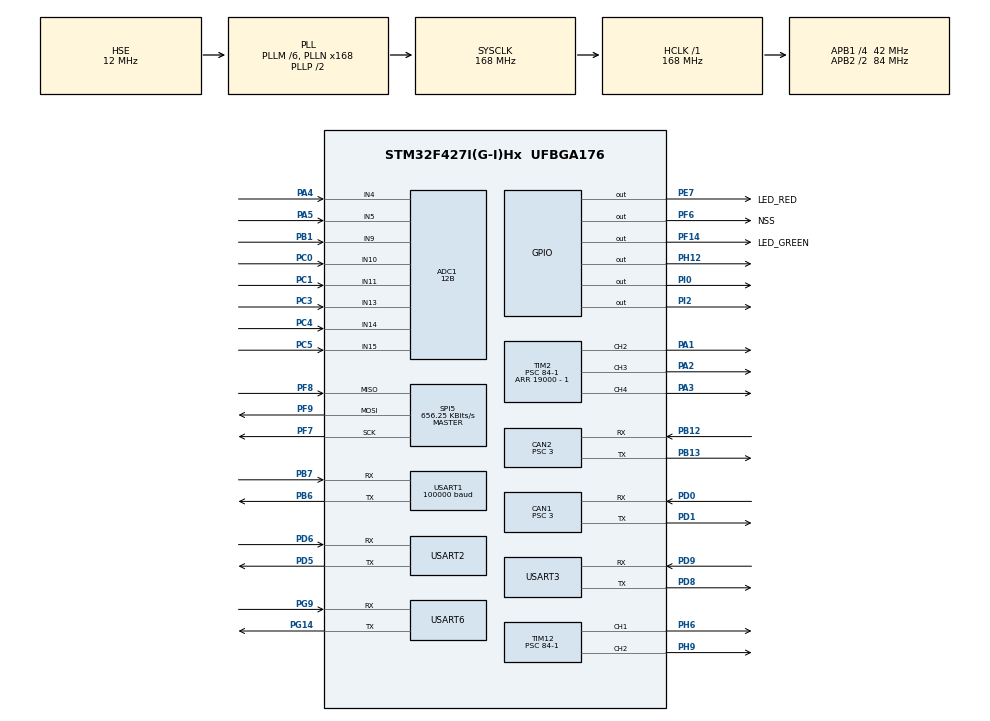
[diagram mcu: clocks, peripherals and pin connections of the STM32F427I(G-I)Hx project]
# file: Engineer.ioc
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ADC1.Channel-0\#ChannelRegularConversion=ADC_CHANNEL_4
ADC1.Channel-1\#ChannelRegularConversion=ADC_CHANNEL_11
ADC1.Channel-2\#ChannelRegularConversion=ADC_CHANNEL_10
ADC1.Channel-3\#ChannelRegularConversion=ADC_CHANNEL_9
ADC1.Channel-4\#ChannelRegularConversion=ADC_CHANNEL_5
ADC1.Channel-5\#ChannelRegularConversion=ADC_CHANNEL_15
ADC1.Channel-6\#ChannelRegularConversion=ADC_CHANNEL_14
ADC1.Channel-7\#ChannelRegularConversion=ADC_CHANNEL_13
ADC1.ClockPrescaler=ADC_CLOCK_SYNC_PCLK_DIV4
ADC1.ContinuousConvMode=ENABLE
ADC1.DMAContinuousRequests=ENABLE
ADC1.DataAlign=ADC_DATAALIGN_RIGHT
ADC1.DiscontinuousConvMode=DISABLE
ADC1.EOCSelection=ADC_EOC_SINGLE_CONV
ADC1.EnableAnalogWatchDog=false
ADC1.ExternalTrigConv=ADC_SOFTWARE_START
ADC1.ExternalTrigConvEdge=ADC_EXTERNALTRIGCONVEDGE_NONE
ADC1.InjNumberOfConversion=0
ADC1.NbrOfConversion=8
ADC1.NbrOfConversionFlag=1
ADC1.Rank-0\#ChannelRegularConversion=1
ADC1.Rank-1\#ChannelRegularConversion=2
ADC1.Rank-2\#ChannelRegularConversion=3
ADC1.Rank-3\#ChannelRegularConversion=4
ADC1.Rank-4\#ChannelRegularConversion=5
ADC1.Rank-5\#ChannelRegularConversion=6
ADC1.Rank-6\#ChannelRegularConversion=7
ADC1.Rank-7\#ChannelRegularConversion=8
ADC1.Resolution=ADC_RESOLUTION_12B
ADC1.SamplingTime-0\#ChannelRegularConversion=ADC_SAMPLETIME_3CYCLES
ADC1.SamplingTime-1\#ChannelRegularConversion=ADC_SAMPLETIME_3CYCLES
ADC1.SamplingTime-2\#ChannelRegularConversion=ADC_SAMPLETIME_3CYCLES
ADC1.SamplingTime-3\#ChannelRegularConversion=ADC_SAMPLETIME_3CYCLES
ADC1.SamplingTime-4\#ChannelRegularConversion=ADC_SAMPLETIME_3CYCLES
ADC1.SamplingTime-5\#ChannelRegularConversion=ADC_SAMPLETIME_3CYCLES
ADC1.SamplingTime-6\#ChannelRegularConversion=ADC_SAMPLETIME_3CYCLES
ADC1.SamplingTime-7\#ChannelRegularConversion=ADC_SAMPLETIME_3CYCLES
ADC1.ScanConvMode=ENABLE
ADC1.master=1
CAN1.BS1=CAN_BS1_9TQ
CAN1.BS2=CAN_BS2_4TQ
CAN1.CalculateTimeBit=1000
CAN1.CalculateTimeQuantum=71.42857142857143
CAN1.Prescaler=3
CAN2.BS1=CAN_BS1_9TQ
CAN2.BS2=CAN_BS2_4TQ
CAN2.CalculateTimeBit=1000
CAN2.CalculateTimeQuantum=71.42857142857143
CAN2.Prescaler=3
Dma.ADC1.4.Direction=DMA_PERIPH_TO_MEMORY
Dma.ADC1.4.FIFOMode=DMA_FIFOMODE_DISABLE
Dma.ADC1.4.Instance=DMA2_Stream0
Dma.ADC1.4.MemDataAlignment=DMA_MDATAALIGN_WORD
Dma.ADC1.4.MemInc=DMA_MINC_ENABLE
Dma.ADC1.4.Mode=DMA_CIRCULAR
Dma.ADC1.4.PeriphDataAlignment=DMA_PDATAALIGN_WORD
Dma.ADC1.4.PeriphInc=DMA_PINC_DISABLE
Dma.ADC1.4.Priority=DMA_PRIORITY_LOW
Dma.Request0=USART1_RX
Dma.Request1=USART3_RX
Dma.Request2=USART2_RX
Dma.Request3=USART6_RX
Dma.Request4=ADC1
Dma.Request5=USART6_TX
Dma.USART1_RX.0.Direction=DMA_PERIPH_TO_MEMORY
Dma.USART1_RX.0.FIFOMode=DMA_FIFOMODE_DISABLE
Dma.USART1_RX.0.Instance=DMA2_Stream2
Dma.USART1_RX.0.MemDataAlignment=DMA_MDATAALIGN_BYTE
Dma.USART1_RX.0.MemInc=DMA_MINC_ENABLE
Dma.USART1_RX.0.Mode=DMA_NORMAL
Dma.USART1_RX.0.PeriphDataAlignment=DMA_PDATAALIGN_BYTE
Dma.USART1_RX.0.PeriphInc=DMA_PINC_DISABLE
Dma.USART1_RX.0.Priority=DMA_PRIORITY_LOW
Dma.USART2_RX.2.Direction=DMA_PERIPH_TO_MEMORY
Dma.USART2_RX.2.FIFOMode=DMA_FIFOMODE_DISABLE
Dma.USART2_RX.2.Instance=DMA1_Stream5
Dma.USART2_RX.2.MemDataAlignment=DMA_MDATAALIGN_BYTE
Dma.USART2_RX.2.MemInc=DMA_MINC_ENABLE
Dma.USART2_RX.2.Mode=DMA_NORMAL
Dma.USART2_RX.2.PeriphDataAlignment=DMA_PDATAALIGN_BYTE
Dma.USART2_RX.2.PeriphInc=DMA_PINC_DISABLE
Dma.USART2_RX.2.Priority=DMA_PRIORITY_LOW
Dma.USART3_RX.1.Direction=DMA_PERIPH_TO_MEMORY
Dma.USART3_RX.1.FIFOMode=DMA_FIFOMODE_DISABLE
Dma.USART3_RX.1.Instance=DMA1_Stream1
Dma.USART3_RX.1.MemDataAlignment=DMA_MDATAALIGN_BYTE
Dma.USART3_RX.1.MemInc=DMA_MINC_ENABLE
Dma.USART3_RX.1.Mode=DMA_NORMAL
Dma.USART3_RX.1.PeriphDataAlignment=DMA_PDATAALIGN_BYTE
Dma.USART3_RX.1.PeriphInc=DMA_PINC_DISABLE
Dma.USART3_RX.1.Priority=DMA_PRIORITY_LOW
Dma.USART6_RX.3.Direction=DMA_PERIPH_TO_MEMORY
Dma.USART6_RX.3.FIFOMode=DMA_FIFOMODE_DISABLE
Dma.USART6_RX.3.Instance=DMA2_Stream1
Dma.USART6_RX.3.MemDataAlignment=DMA_MDATAALIGN_BYTE
Dma.USART6_RX.3.MemInc=DMA_MINC_ENABLE
Dma.USART6_RX.3.Mode=DMA_NORMAL
Dma.USART6_RX.3.PeriphDataAlignment=DMA_PDATAALIGN_BYTE
Dma.USART6_RX.3.PeriphInc=DMA_PINC_DISABLE
Dma.USART6_RX.3.Priority=DMA_PRIORITY_LOW
Dma.USART6_TX.5.Direction=DMA_MEMORY_TO_PERIPH
Dma.USART6_TX.5.FIFOMode=DMA_FIFOMODE_DISABLE
Dma.USART6_TX.5.Instance=DMA2_Stream6
Dma.USART6_TX.5.MemDataAlignment=DMA_MDATAALIGN_BYTE
Dma.USART6_TX.5.MemInc=DMA_MINC_ENABLE
Dma.USART6_TX.5.Mode=DMA_NORMAL
Dma.USART6_TX.5.PeriphDataAlignment=DMA_PDATAALIGN_BYTE
Dma.USART6_TX.5.PeriphInc=DMA_PINC_DISABLE
Dma.USART6_TX.5.Priority=DMA_PRIORITY_LOW
IWDG.Prescaler=IWDG_PRESCALER_32
IWDG.Reload=300
Mcu.Family=STM32F4
Mcu.Name=STM32F427I(G-I)Hx
Mcu.Package=UFBGA176
NVIC.CAN1_RX0_IRQn=true\:0\:0\:true\:false\:true\:true
NVIC.CAN1_TX_IRQn=true\:0\:0\:true\:false\:true\:true
NVIC.CAN2_RX0_IRQn=true\:1\:0\:true\:false\:true\:true
NVIC.CAN2_TX_IRQn=true\:2\:0\:true\:false\:true\:true
NVIC.DMA1_Stream1_IRQn=true\:0\:0\:true\:false\:true\:false
NVIC.DMA1_Stream5_IRQn=true\:0\:0\:false\:false\:true\:false
NVIC.DMA2_Stream0_IRQn=true\:0\:0\:false\:false\:true\:false
NVIC.DMA2_Stream1_IRQn=true\:0\:0\:false\:false\:true\:false
NVIC.DMA2_Stream2_IRQn=true\:0\:0\:false\:false\:true\:false
NVIC.DMA2_Stream6_IRQn=true\:0\:0\:false\:false\:true\:false
NVIC.PriorityGroup=NVIC_PRIORITYGROUP_4
NVIC.TIM1_UP_TIM10_IRQn=true\:4\:0\:true\:false\:true\:true
NVIC.TIM6_DAC_IRQn=true\:3\:0\:true\:false\:true\:true
NVIC.TIM7_IRQn=true\:0\:0\:true\:false\:true\:true
NVIC.USART1_IRQn=true\:0\:0\:true\:false\:true\:true
NVIC.USART2_IRQn=true\:1\:0\:true\:false\:true\:true
NVIC.USART3_IRQn=true\:1\:0\:true\:false\:true\:true
NVIC.USART6_IRQn=true\:1\:0\:true\:false\:true\:true
PA1.Signal=S_TIM2_CH2
PA2.Signal=S_TIM2_CH3
PA3.Signal=S_TIM2_CH4
PA4.Signal=ADCx_IN4
PA5.Signal=ADCx_IN5
PB1.Signal=ADCx_IN9
PB12.Mode=Slave
PB12.Signal=CAN2_RX
PB13.Mode=Slave
PB13.Signal=CAN2_TX
PB6.Mode=Asynchronous
PB6.Signal=USART1_TX
PB7.Mode=Asynchronous
PB7.Signal=USART1_RX
PC0.Signal=ADCx_IN10
PC1.Signal=ADCx_IN11
PC3.Signal=ADCx_IN13
PC4.Signal=ADCx_IN14
PC5.Signal=ADCx_IN15
PD0.Mode=Master
PD0.Signal=CAN1_RX
PD1.Mode=Master
PD1.Signal=CAN1_TX
PD5.Mode=Asynchronous
PD5.Signal=USART2_TX
PD6.Mode=Asynchronous
PD6.Signal=USART2_RX
PD8.Mode=Asynchronous
PD8.Signal=USART3_TX
PD9.Mode=Asynchronous
PD9.Signal=USART3_RX
PE7.GPIO_Label=LED_RED
PE7.Signal=GPIO_Output
PF14.GPIO_Label=LED_GREEN
PF14.Signal=GPIO_Output
PF6.GPIO_Label=NSS
PF6.Signal=GPIO_Output
PF7.Mode=Full_Duplex_Master
PF7.Signal=SPI5_SCK
PF8.Mode=Full_Duplex_Master
PF8.Signal=SPI5_MISO
PF9.Mode=Full_Duplex_Master
PF9.Signal=SPI5_MOSI
PG14.Mode=Asynchronous
PG14.Signal=USART6_TX
PG9.Mode=Asynchronous
PG9.Signal=USART6_RX
PH0/OSC_IN.Mode=HSE-External-Oscillator
PH0/OSC_IN.Signal=RCC_OSC_IN
PH1/OSC_OUT.Mode=HSE-External-Oscillator
PH1/OSC_OUT.Signal=RCC_OSC_OUT
PH12.Signal=GPIO_Output
PH6.Signal=S_TIM12_CH1
PH9.Signal=S_TIM12_CH2
PI0.Signal=GPIO_Output
PI2.Signal=GPIO_Output
ProjectManager.HeapSize=0x200
ProjectManager.StackSize=0x400
ProjectManager.TargetToolchain=MDK-ARM V5
RCC.48MHZClocksFreq_Value=84000000
RCC.AHBFreq_Value=168000000
RCC.APB1CLKDivider=RCC_HCLK_DIV4
RCC.APB1Freq_Value=42000000
RCC.APB1TimFreq_Value=84000000
RCC.APB2CLKDivider=RCC_HCLK_DIV2
RCC.APB2Freq_Value=84000000
RCC.APB2TimFreq_Value=168000000
RCC.CortexFreq_Value=168000000
RCC.HCLKFreq_Value=168000000
RCC.HSE_VALUE=12000000
RCC.HSI_VALUE=16000000
RCC.LSE_VALUE=32768
RCC.PLLM=6
RCC.PLLN=168
RCC.PLLSourceVirtual=RCC_PLLSOURCE_HSE
RCC.SYSCLKFreq_VALUE=168000000
RCC.SYSCLKSource=RCC_SYSCLKSOURCE_PLLCLK
RCC.VCOOutputFreq_Value=336000000
SH.ADCx_IN10.0=ADC1_IN10,IN10
SH.ADCx_IN11.0=ADC1_IN11,IN11
SH.ADCx_IN13.0=ADC1_IN13,IN13
SH.ADCx_IN14.0=ADC1_IN14,IN14
SH.ADCx_IN15.0=ADC1_IN15,IN15
SH.ADCx_IN4.0=ADC1_IN4,IN4
SH.ADCx_IN5.0=ADC1_IN5,IN5
SH.ADCx_IN9.0=ADC1_IN9,IN9
SH.S_TIM12_CH1.0=TIM12_CH1,PWM Generation1 CH1
SH.S_TIM12_CH2.0=TIM12_CH2,PWM Generation2 CH2
SH.S_TIM2_CH2.0=TIM2_CH2,PWM Generation2 CH2
SH.S_TIM2_CH3.0=TIM2_CH3,PWM Generation3 CH3
SH.S_TIM2_CH4.0=TIM2_CH4,PWM Generation4 CH4
SPI5.BaudRatePrescaler=SPI_BAUDRATEPRESCALER_128
SPI5.CalculateBaudRate=656.25 KBits/s
SPI5.Direction=SPI_DIRECTION_2LINES
SPI5.Mode=SPI_MODE_MASTER
SPI5.VirtualType=VM_MASTER
TIM10.Period=10000
TIM10.Prescaler=168-1
TIM12.Channel-PWM\ Generation1\ CH1=TIM_CHANNEL_1
TIM12.Channel-PWM\ Generation2\ CH2=TIM_CHANNEL_2
TIM12.Period=2500-1
TIM12.Prescaler=84-1
TIM12.Pulse-PWM\ Generation1\ CH1=1000
TIM12.Pulse-PWM\ Generation2\ CH2=0
TIM2.Channel-PWM\ Generation2\ CH2=TIM_CHANNEL_2
TIM2.Channel-PWM\ Generation3\ CH3=TIM_CHANNEL_3
TIM2.Channel-PWM\ Generation4\ CH4=TIM_CHANNEL_4
TIM2.Period=19000 - 1
TIM2.Prescaler=84-1
TIM6.Period=2000
TIM6.Prescaler=84-1
TIM7.Period=1000
TIM7.Prescaler=84-1
USART1.BaudRate=100000
USART1.Mode=MODE_RX
USART1.Parity=PARITY_EVEN
USART1.VirtualMode=VM_ASYNC
USART1.WordLength=WORDLENGTH_9B
USART2.VirtualMode=VM_ASYNC
USART3.VirtualMode=VM_ASYNC
USART6.VirtualMode=VM_ASYNC
VP_IWDG_VS_IWDG.Mode=IWDG_Activate
VP_TIM10_VS_ClockSourceINT.Mode=Enable_Timer
VP_TIM12_VS_ClockSourceINT.Mode=Internal
VP_TIM2_VS_ClockSourceINT.Mode=Internal
VP_TIM6_VS_ClockSourceINT.Mode=Enable_Timer
VP_TIM7_VS_ClockSourceINT.Mode=Enable_Timer
board=Engineer

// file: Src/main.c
/**
  ******************************************************************************
  * File Name          : main.c
  * Description        : Main program body
  ******************************************************************************
  ** This notice applies to any and all portions of this file
  * that are not between comment pairs USER CODE BEGIN and
  * USER CODE END. Other portions of this file, whether
  * inserted by the user or by software development tools
  * are owned by their respective copyright owners.
  *
  * COPYRIGHT(c) 2018 STMicroelectronics
  *
  * Redistribution and use in source and binary forms, with or without modification,
  * are permitted provided that the following conditions are met:
  *   1. Redistributions of source code must retain the above copyright notice,
  *      this list of conditions and the following disclaimer.
  *   2. Redistributions in binary form must reproduce the above copyright notice,
  *      this list of conditions and the following disclaimer in the documentation
  *      and/or other materials provided with the distribution.
  *   3. Neither the name of STMicroelectronics nor the names of its contributors
  *      may be used to endorse or promote products derived from this software
  *      without specific prior written permission.
  *
  * THIS SOFTWARE IS PROVIDED BY THE COPYRIGHT HOLDERS AND CONTRIBUTORS "AS IS"
  * AND ANY EXPRESS OR IMPLIED WARRANTIES, INCLUDING, BUT NOT LIMITED TO, THE
  * IMPLIED WARRANTIES OF MERCHANTABILITY AND FITNESS FOR A PARTICULAR PURPOSE ARE
  * DISCLAIMED. IN NO EVENT SHALL THE COPYRIGHT HOLDER OR CONTRIBUTORS BE LIABLE
  * FOR ANY DIRECT, INDIRECT, INCIDENTAL, SPECIAL, EXEMPLARY, OR CONSEQUENTIAL
  * DAMAGES (INCLUDING, BUT NOT LIMITED TO, PROCUREMENT OF SUBSTITUTE GOODS OR
  * SERVICES; LOSS OF USE, DATA, OR PROFITS; OR BUSINESS INTERRUPTION) HOWEVER
  * CAUSED AND ON ANY THEORY OF LIABILITY, WHETHER IN CONTRACT, STRICT LIABILITY,
  * OR TORT (INCLUDING NEGLIGENCE OR OTHERWISE) ARISING IN ANY WAY OUT OF THE USE
  * OF THIS SOFTWARE, EVEN IF ADVISED OF THE POSSIBILITY OF SUCH DAMAGE.
  *
  ******************************************************************************
  */

#include "main.h"
#include "stm32f4xx_hal.h"
#include "adc.h"
#include "can.h"
#include "dma.h"
#include "iwdg.h"
#include "spi.h"
#include "tim.h"
#include "usart.h"
#include "gpio.h"

/* USER CODE BEGIN Includes */
#include "includes.h"
/* USER CODE END Includes */

/* USER CODE BEGIN PV */
uint32_t ADC_Value[160];
/* Private variables ---------------------------------------------------------*/

/* USER CODE END PV */

void SystemClock_Config(void);

/* USER CODE BEGIN PFP */
/* Private function prototypes -----------------------------------------------*/

/* USER CODE END PFP */

int main(void)
{

  /* MCU Configuration----------------------------------------------------------*/

  /* Reset of all peripherals, Initializes the Flash interface and the Systick. */
  HAL_Init();

  /* Configure the system clock */
  SystemClock_Config();

  /* USER CODE BEGIN SysInit */
	HAL_NVIC_DisableIRQ(USART2_IRQn);
	HAL_NVIC_DisableIRQ(USART3_IRQn);
	HAL_NVIC_DisableIRQ(USART6_IRQn);
	HAL_NVIC_DisableIRQ(DMA1_Stream1_IRQn);
	HAL_NVIC_DisableIRQ(DMA1_Stream5_IRQn);
	HAL_NVIC_DisableIRQ(DMA2_Stream1_IRQn);

	HAL_NVIC_DisableIRQ(CAN1_RX0_IRQn);
	HAL_NVIC_DisableIRQ(CAN2_RX0_IRQn);
	HAL_NVIC_DisableIRQ(USART1_IRQn);
	HAL_NVIC_DisableIRQ(DMA2_Stream2_IRQn);
	HAL_NVIC_DisableIRQ(TIM7_IRQn);
	HAL_NVIC_DisableIRQ(TIM6_DAC_IRQn);
	#ifdef DEBUG_MODE
		HAL_NVIC_DisableIRQ(TIM1_UP_TIM10_IRQn);
	#endif
  /* USER CODE END SysInit */

  /* Initialize all configured peripherals */
  MX_GPIO_Init();
  MX_DMA_Init();
  MX_CAN1_Init();
  MX_CAN2_Init();
  MX_SPI5_Init();
  MX_USART1_UART_Init();
  MX_TIM6_Init();
  MX_TIM12_Init();
  MX_USART2_UART_Init();
  MX_USART3_UART_Init();
  MX_USART6_UART_Init();
  MX_TIM7_Init();
  MX_TIM10_Init();
  MX_ADC1_Init();
  MX_TIM2_Init();
  MX_IWDG_Init();

  /* USER CODE BEGIN 2 */
	//各模块初始化
	InitRemoteControl();
	InitMPU6500();
	CMControlInit();
	for(int i=0;i<8;i++) {InitMotor(can1[i]);InitMotor(can2[i]);}
	InitPWM();
	InitCanReception();

	#ifdef DEBUG_MODE
	ctrlUartInit();
	//时间中断
	HAL_TIM_Base_Start_IT(&htim10);
	#endif
	HAL_TIM_Base_Start_IT(&htim6);
	HAL_TIM_Base_Start_IT(&htim7);
	HAL_TIM_PWM_Start(&htim12, TIM_CHANNEL_1);
	HAL_TIM_PWM_Start(&htim2, TIM_CHANNEL_3);
	HAL_TIM_PWM_Start(&htim2, TIM_CHANNEL_4);

	//ADC
	HAL_ADC_Start_DMA(&hadc1,(uint32_t*)&ADC_Value,160);

	//其他中断
	HAL_NVIC_EnableIRQ(CAN1_RX0_IRQn);
	HAL_NVIC_EnableIRQ(CAN2_RX0_IRQn);
	HAL_NVIC_EnableIRQ(USART1_IRQn);
	HAL_NVIC_EnableIRQ(DMA2_Stream2_IRQn);
	HAL_NVIC_EnableIRQ(TIM7_IRQn);
	#ifdef DEBUG_MODE
		HAL_NVIC_EnableIRQ(TIM1_UP_TIM10_IRQn);
	#endif
	HAL_NVIC_EnableIRQ(TIM6_DAC_IRQn);

  /* USER CODE END 2 */

  /* Infinite loop */
  while (1)
  {

  /* USER CODE BEGIN 3 */
		IMURefresh();
  }
  /* USER CODE END 3 */

}

/** System Clock Configuration
*/
void SystemClock_Config(void)
{

  RCC_OscInitTypeDef RCC_OscInitStruct;
  RCC_ClkInitTypeDef RCC_ClkInitStruct;

    /**Configure the main internal regulator output voltage
    */
  __HAL_RCC_PWR_CLK_ENABLE();

  __HAL_PWR_VOLTAGESCALING_CONFIG(PWR_REGULATOR_VOLTAGE_SCALE1);

    /**Initializes the CPU, AHB and APB busses clocks
    */
  RCC_OscInitStruct.OscillatorType = RCC_OSCILLATORTYPE_LSI|RCC_OSCILLATORTYPE_HSE;
  RCC_OscInitStruct.HSEState = RCC_HSE_ON;
  RCC_OscInitStruct.LSIState = RCC_LSI_ON;
  RCC_OscInitStruct.PLL.PLLState = RCC_PLL_ON;
  RCC_OscInitStruct.PLL.PLLSource = RCC_PLLSOURCE_HSE;
  RCC_OscInitStruct.PLL.PLLM = 6;
  RCC_OscInitStruct.PLL.PLLN = 168;
  RCC_OscInitStruct.PLL.PLLP = RCC_PLLP_DIV2;
  RCC_OscInitStruct.PLL.PLLQ = 4;
  if (HAL_RCC_OscConfig(&RCC_OscInitStruct) != HAL_OK)
  {
    _Error_Handler(__FILE__, __LINE__);
  }

    /**Initializes the CPU, AHB and APB busses clocks
    */
  RCC_ClkInitStruct.ClockType = RCC_CLOCKTYPE_HCLK|RCC_CLOCKTYPE_SYSCLK
                              |RCC_CLOCKTYPE_PCLK1|RCC_CLOCKTYPE_PCLK2;
  RCC_ClkInitStruct.SYSCLKSource = RCC_SYSCLKSOURCE_PLLCLK;
  RCC_ClkInitStruct.AHBCLKDivider = RCC_SYSCLK_DIV1;
  RCC_ClkInitStruct.APB1CLKDivider = RCC_HCLK_DIV4;
  RCC_ClkInitStruct.APB2CLKDivider = RCC_HCLK_DIV2;

  if (HAL_RCC_ClockConfig(&RCC_ClkInitStruct, FLASH_LATENCY_5) != HAL_OK)
  {
    _Error_Handler(__FILE__, __LINE__);
  }

    /**Configure the Systick interrupt time
    */
  HAL_SYSTICK_Config(HAL_RCC_GetHCLKFreq()/1000);

    /**Configure the Systick
    */
  HAL_SYSTICK_CLKSourceConfig(SYSTICK_CLKSOURCE_HCLK);

  /* SysTick_IRQn interrupt configuration */
  HAL_NVIC_SetPriority(SysTick_IRQn, 0, 0);
}

void _Error_Handler(char * file, int line)
{
  while(1)
  {
  }
}

/************************ (C) COPYRIGHT STMicroelectronics *****END OF FILE****/
